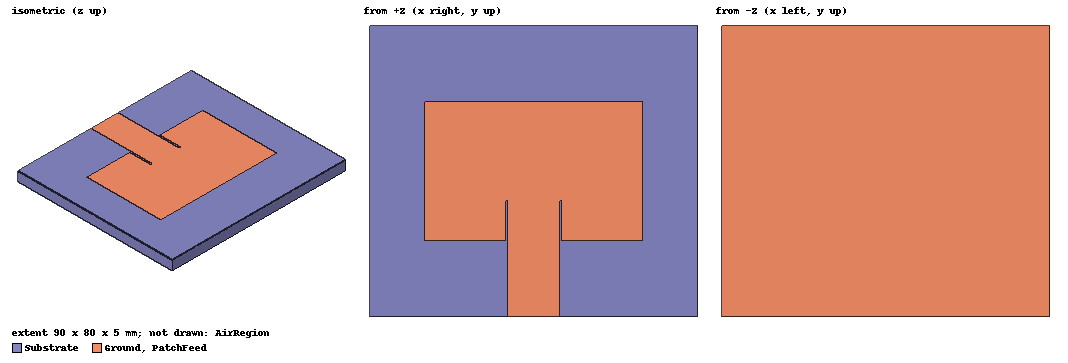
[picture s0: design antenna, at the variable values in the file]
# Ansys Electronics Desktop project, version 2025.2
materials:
  vacuum: permittivity=1
  AntennaSubstrate: permittivity=2.2 permeability=1 dielectric_loss_tangent=0.0009
  copper: permeability=0.999991 conductivity=58000000
  air: permittivity=1.0006 permeability=1.0000004

design antenna (HFSS, HFSS Modal Network, model units mm)
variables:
  freq0 = 2.45GHz
  sub_w = 90mm
  sub_l = 80mm
  sub_h = 5mm
  patch_w = 60mm
  patch_l = 38.3mm
  feed_w = 14mm
  inset_d = 11mm
  inset_gap = 0.8mm
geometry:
  Substrate [AntennaSubstrate] = box(corner=(-45mm, -40mm, 0mm), size=(90mm, 80mm, 5mm))
  Ground [copper] = rectangle(corner=(-45mm, -40mm, 0mm), x_size=90mm, y_size=80mm)
  PatchFeed [copper] = polyline(z=5mm, xy in mm: (-30, 19.15) (30, 19.15) (30, -19.15) (7.8, -19.15) (7.8, -8.15) (7, -8.15) (7, -40) (-7, -40) (-7, -8.15) (-7.8, -8.15) (-7.8, -19.15) (-30, -19.15) (-30, 19.15), closed, covered)
  Port1_sheet = polyline(y=-40mm, xz in mm: (-7, 0) (7, 0) (7, 5) (-7, 5) (-7, 0), closed, covered)
  AirRegion [air] = region(absolute_offset: +X=40mm, -X=40mm, +Y=40mm, -Y=40mm, +Z=55mm, -Z=30mm)
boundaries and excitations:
  PEC_Metals: Perfect E Objects=[Ground, PatchFeed]
  Rad1: Radiation Objects=AirRegion
  Port1: Lumped Port Objects=Port1_sheet LumpedPortType=Modal Modes{Mode1{IntLine{(0, -40, 5) -> (0, -40, 0)} CharImp=Zpi RenormImp=50ohm}} Impedance=50ohm
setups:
  Setup1: HfssDriven Frequency=2.45GHz MaxDeltaS=0.02 MaximumPasses=12 MinimumPasses=2 MinimumConvergedPasses=1 PercentRefinement=30 BasisOrder=1 PortAccuracy=2 DrivenSolverType="Direct Solver"
    sweep Sweep1: 2.3GHz to 2.6GHz, 301 points; Type=Interpolating InterpTolerance=0.5 InterpMaxSolns=250 InterpUsePortImped=false PassivityErrorTolerance=0.0001
    sweep EfficiencySweep: 2.4GHz to 2.5GHz, 11 points; Type=Discrete SaveFields SaveRadFields
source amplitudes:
  Port1:1: 1W 0deg
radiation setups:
  InfiniteSphere1: Infinite Sphere Theta=0deg..180deg step 5deg Phi=-180deg..180deg step 5deg
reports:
  S Parameter Plot1: dB(S(Port1,Port1)) vs Freq on Setup1 : Sweep1
  Antenna Params Plot1: dB(PeakGain) vs Freq on Setup1 : EfficiencySweep
  Antenna Params Plot2: TotalEfficiency vs Freq on Setup1 : EfficiencySweep
